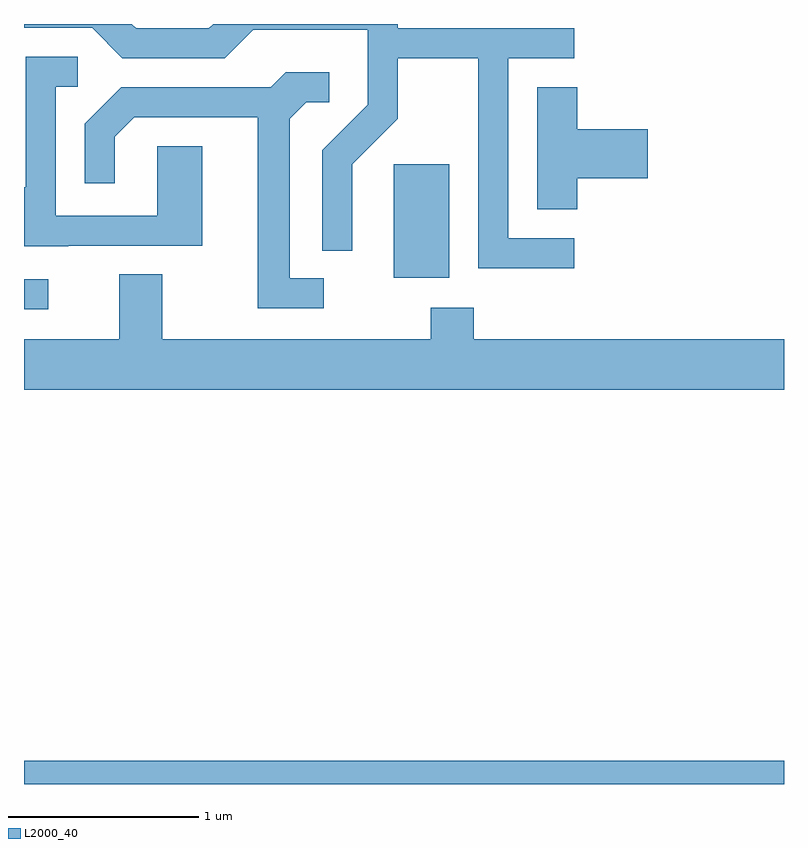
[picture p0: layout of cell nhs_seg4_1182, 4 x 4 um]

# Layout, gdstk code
import gdstk
lib = gdstk.Library(unit=1e-6, precision=1e-09)
def R(c, l, rs):  # rectangles x0, y0, x1, y1
    for r in rs: c.add(gdstk.rectangle(r[:2], r[2:], *l))
def P(c, l, *ps):  # polygons
    for p in ps: c.add(gdstk.Polygon(p, *l))
L2000_40 = (2000, 40)

nhs_seg4_1182 = lib.new_cell('nhs_seg4_1182')
R(nhs_seg4_1182, L2000_40, [(219.611,1305.982,223.611,1306.104), (219.611,1308.481,219.738,1308.639), (221.556,1308.646,221.849,1309.244)])
P(nhs_seg4_1182, L2000_40, [(222.508,1308.854),(222.159,1308.854),(222.159,1309.801),(222.508,1309.801),(222.508,1309.959),(221.579,1309.959),(221.579,1309.982),(220.607,1309.982),(220.584,1309.959),(220.202,1309.959),(220.179,1309.982),(219.611,1309.982),(219.611,1309.961),(219.969,1309.961),(220.129,1309.801),(220.667,1309.801),(220.817,1309.951),(221.421,1309.951),(221.421,1309.557),(221.181,1309.317),(221.181,1308.788),(221.339,1308.788),(221.339,1309.244),(221.579,1309.484),(221.579,1309.801),(222.001,1309.801),(222.001,1308.696),(222.508,1308.696)],
  [(219.845,1308.816),(220.549,1308.816),(220.549,1309.339),(220.311,1309.339),(220.311,1308.974),(219.779,1308.974),(219.779,1309.651),(219.893,1309.651),(219.893,1309.809),(219.621,1309.809),(219.621,1309.124),(219.611,1309.124),(219.611,1308.811),(219.845,1308.811)],
  [(221.188,1308.644),(221.009,1308.644),(221.009,1309.484),(221.097,1309.571),(221.218,1309.571),(221.218,1309.729),(220.989,1309.729),(220.909,1309.649),(220.124,1309.649),(219.931,1309.457),(219.931,1309.143),(220.089,1309.143),(220.089,1309.389),(220.192,1309.491),(220.841,1309.491),(220.841,1308.486),(221.188,1308.486)],
  [(222.524,1309.171),(222.894,1309.171),(222.894,1309.429),(222.524,1309.429),(222.524,1309.649),(222.311,1309.649),(222.311,1309.006),(222.524,1309.006)],
  [(223.611,1308.324),(221.979,1308.324),(221.979,1308.489),(221.751,1308.489),(221.751,1308.324),(220.339,1308.324),(220.339,1308.664),(220.111,1308.664),(220.111,1308.324),(219.611,1308.324),(219.611,1308.056),(223.611,1308.056)])

lib.write_gds('nhs_seg4_1182.gds')
